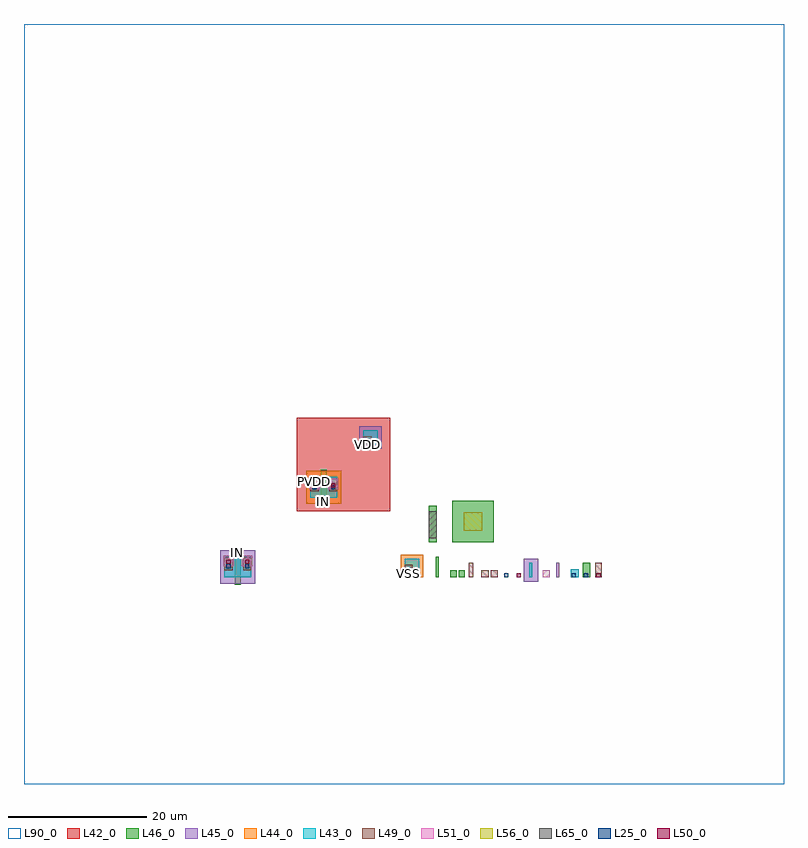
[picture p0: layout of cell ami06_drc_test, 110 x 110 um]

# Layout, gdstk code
import gdstk
lib = gdstk.Library(unit=1e-6, precision=5e-09)
def R(c, l, rs):  # rectangles x0, y0, x1, y1
    for r in rs: c.add(gdstk.rectangle(r[:2], r[2:], *l))
L25_0 = (25, 0)
L42_0 = (42, 0)
L43_0 = (43, 0)
L44_0 = (44, 0)
L45_0 = (45, 0)
L46_0 = (46, 0)
L49_0 = (49, 0)
L50_0 = (50, 0)
L51_0 = (51, 0)
L56_0 = (56, 0)
L65_0 = (65, 0)
L90_0 = (90, 0)

ami06_drc_test = lib.new_cell('ami06_drc_test')
R(ami06_drc_test, L25_0, [(49.5,9.9,50.1,10.5), (59.25,9.9,59.85,10.5), (61.05,9.9,61.65,10.5), (35.4,10.8,36,11.4), (9.3,11.25,9.9,11.85), (12,11.25,12.6,11.85), (21.75,22.65,22.35,23.25), (24.45,22.65,25.05,23.25), (29.4,29.4,30,30)])
R(ami06_drc_test, L42_0, [(19.5,19.5,33,33)])
R(ami06_drc_test, L43_0, [(9,9.9,12.9,12.9), (53.1,9.9,53.55,12), (59.1,9.9,60.3,11.1), (35.1,10.5,37.2,12.6), (21.45,21.45,25.35,24.45), (29.1,29.1,31.2,31.2)])
R(ami06_drc_test, L44_0, [(34.5,9.9,37.8,13.2), (20.85,20.55,25.95,25.35)])
R(ami06_drc_test, L45_0, [(8.4,9,13.5,13.8), (52.35,9.3,54.45,12.6), (57,9.9,57.45,12), (28.5,28.5,31.8,31.8)])
R(ami06_drc_test, L46_0, [(10.5,8.85,11.4,13.95), (39.6,9.9,40.05,12.9), (41.7,9.9,42.6,10.95), (42.9,9.9,43.8,10.95), (60.9,9.9,61.95,12), (38.55,15,39.75,20.25), (42,15,48,21), (22.95,20.4,23.85,25.5)])
R(ami06_drc_test, L49_0, [(44.4,9.9,45,12), (46.2,9.9,47.25,10.95), (47.55,9.9,48.6,10.95), (62.7,9.9,63.6,12), (35.1,10.5,36.3,11.7), (9,10.95,10.2,12.75), (11.7,10.95,12.9,12.75), (21.45,22.35,22.65,24.15), (24.15,22.35,25.35,24.15), (29.1,29.1,30.3,30.3)])
R(ami06_drc_test, L50_0, [(51.3,9.9,51.9,10.5), (62.85,9.9,63.45,10.5), (9.3,11.85,9.9,12.45), (12,11.85,12.6,12.45), (21.75,22.95,22.35,23.55), (24.45,22.95,25.05,23.55)])
R(ami06_drc_test, L51_0, [(55.07,9.9,56.12,10.95), (8.85,11.55,10.35,13.05), (11.55,11.55,13.05,13.05), (21.3,22.65,22.8,24.15), (24,22.65,25.5,24.15)])
R(ami06_drc_test, L56_0, [(43.65,16.65,46.35,19.35)])
R(ami06_drc_test, L65_0, [(38.55,15.6,39.75,19.5)])
R(ami06_drc_test, L90_0, [(-20,-20,90,90)])
ami06_drc_test.add(gdstk.Label('IN', (10.95,13.5), layer=64, texttype=0))
ami06_drc_test.add(gdstk.Label('NSS', (9.6,12.6), layer=64, texttype=0))
ami06_drc_test.add(gdstk.Label('NOUT', (12.6,12.6), layer=64, texttype=0))
ami06_drc_test.add(gdstk.Label('IN', (23.4,20.85), layer=64, texttype=0))
ami06_drc_test.add(gdstk.Label('PVDD', (22.05,23.85), layer=64, texttype=0))
ami06_drc_test.add(gdstk.Label('POUT', (24.75,23.85), layer=64, texttype=0))
ami06_drc_test.add(gdstk.Label('VDD', (29.7,29.1), layer=64, texttype=0))
ami06_drc_test.add(gdstk.Label('VSS', (35.7,10.5), layer=64, texttype=0))

lib.write_gds('ami06_drc_test.gds')
